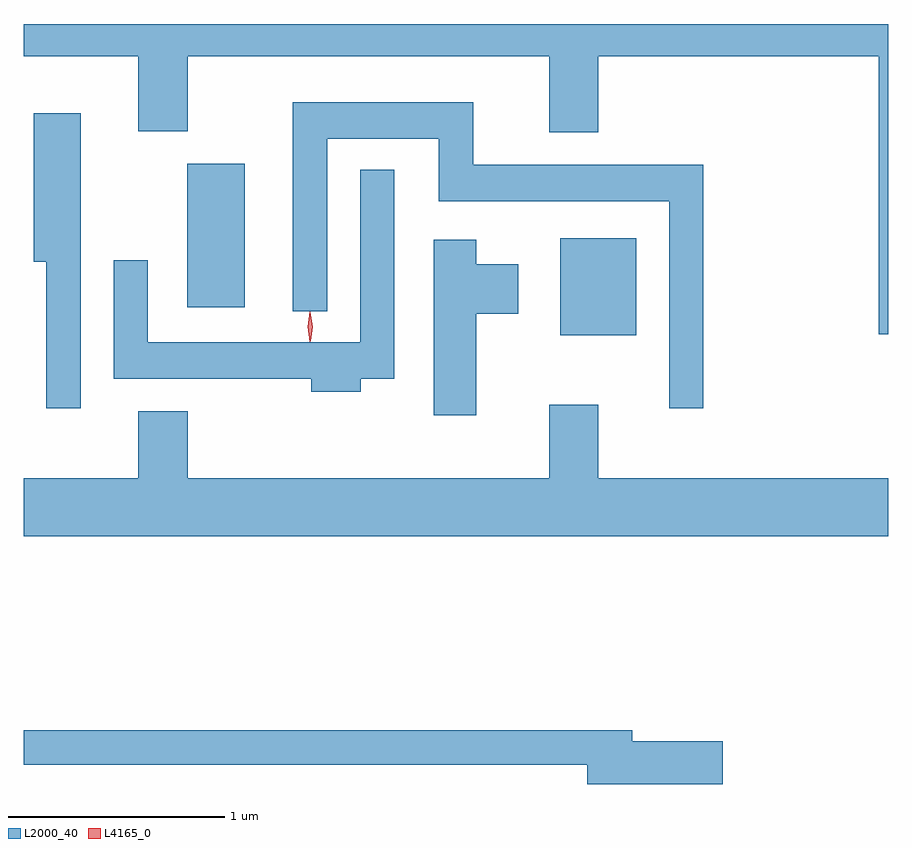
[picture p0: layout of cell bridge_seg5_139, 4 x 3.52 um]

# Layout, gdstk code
import gdstk
lib = gdstk.Library(unit=1e-6, precision=1e-09)
def R(c, l, rs):  # rectangles x0, y0, x1, y1
    for r in rs: c.add(gdstk.rectangle(r[:2], r[2:], *l))
def P(c, l, *ps):  # polygons
    for p in ps: c.add(gdstk.Polygon(p, *l))
L2000_40 = (2000, 40)
L4165_0 = (4165, 0)

bridge_seg5_139 = lib.new_cell('bridge_seg5_139')
R(bridge_seg5_139, L2000_40, [(1227.091,1415.546,1227.444,1415.994), (1225.366,1415.676,1225.634,1416.339)])
P(bridge_seg5_139, L2000_40, [(1228.61,1416.986),(1224.61,1416.986),(1224.61,1416.836),(1225.141,1416.836),(1225.141,1416.491),(1225.369,1416.491),(1225.369,1416.836),(1227.041,1416.836),(1227.041,1416.486),(1227.269,1416.486),(1227.269,1416.836),(1228.566,1416.836),(1228.566,1415.551),(1228.61,1415.551)],
  [(1227.754,1416.334),(1226.689,1416.334),(1226.689,1416.624),(1225.856,1416.624),(1225.856,1415.658),(1226.014,1415.658),(1226.014,1416.456),(1226.531,1416.456),(1226.531,1416.166),(1227.596,1416.166),(1227.596,1415.208),(1227.754,1415.208)],
  [(1224.874,1416.574),(1224.656,1416.574),(1224.656,1415.886),(1224.716,1415.886),(1224.716,1415.208),(1224.874,1415.208)],
  [(1226.169,1415.346),(1226.324,1415.346),(1226.324,1416.313),(1226.166,1416.313),(1226.166,1415.514),(1225.184,1415.514),(1225.184,1415.893),(1225.026,1415.893),(1225.026,1415.346),(1225.941,1415.346),(1225.941,1415.286),(1226.169,1415.286)],
  [(1226.704,1415.646),(1226.899,1415.646),(1226.899,1415.874),(1226.704,1415.874),(1226.704,1415.989),(1226.506,1415.989),(1226.506,1415.176),(1226.704,1415.176)],
  [(1228.61,1414.884),(1227.269,1414.884),(1227.269,1415.224),(1227.041,1415.224),(1227.041,1414.884),(1225.369,1414.884),(1225.369,1415.194),(1225.141,1415.194),(1225.141,1414.884),(1224.61,1414.884),(1224.61,1414.616),(1228.61,1414.616)],
  [(1227.844,1413.669),(1227.424,1413.669),(1227.424,1413.719),(1224.61,1413.719),(1224.61,1413.561),(1227.216,1413.561),(1227.216,1413.471),(1227.844,1413.471)])
P(bridge_seg5_139, L4165_0, [(1225.934,1415.517),(1225.925,1415.586),(1225.934,1415.656),(1225.935,1415.656),(1225.935,1415.656),(1225.945,1415.586),(1225.935,1415.517),(1225.935,1415.517)],
  [(1225.937,1415.52),(1225.937,1415.52),(1225.927,1415.586),(1225.936,1415.652),(1225.937,1415.653),(1225.937,1415.652),(1225.947,1415.586),(1225.938,1415.52)])

lib.write_gds('bridge_seg5_139.gds')
